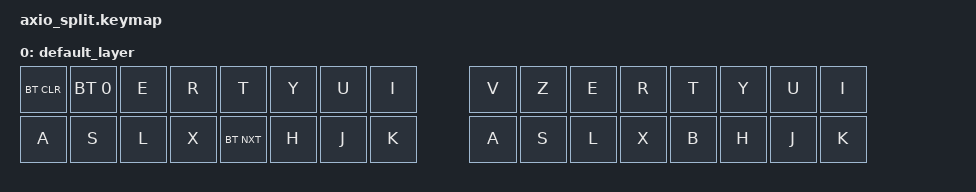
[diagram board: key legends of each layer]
/*
 * Copyright (c) 2020 The ZMK Contributors
 *
 * SPDX-License-Identifier: MIT
 */

#include <behaviors.dtsi>
#include <dt-bindings/zmk/keys.h>
#include <dt-bindings/zmk/bt.h>

/  {
    keymap {
        compatible = "zmk,keymap";

        default_layer {
            bindings = <
    &bt BT_CLR &bt BT_SEL 0  &kp E  &kp R  &kp T  &kp Y  &kp U  &kp I          &kp V &kp Z  &kp E  &kp R  &kp T  &kp Y  &kp U  &kp I 
    &kp A  &kp S  &kp L  &kp X  &bt BT_NXT  &kp H  &kp J  &kp K                &kp A  &kp S  &kp L  &kp X  &kp B &kp H  &kp J  &kp K
   
            >;
            /* Uncomment and add necessary bindings. This examples is for one encoder
            sensor-bindings = <&inc_dec_kp PG_UP PG_DN>;
            */
        };
    };
};




